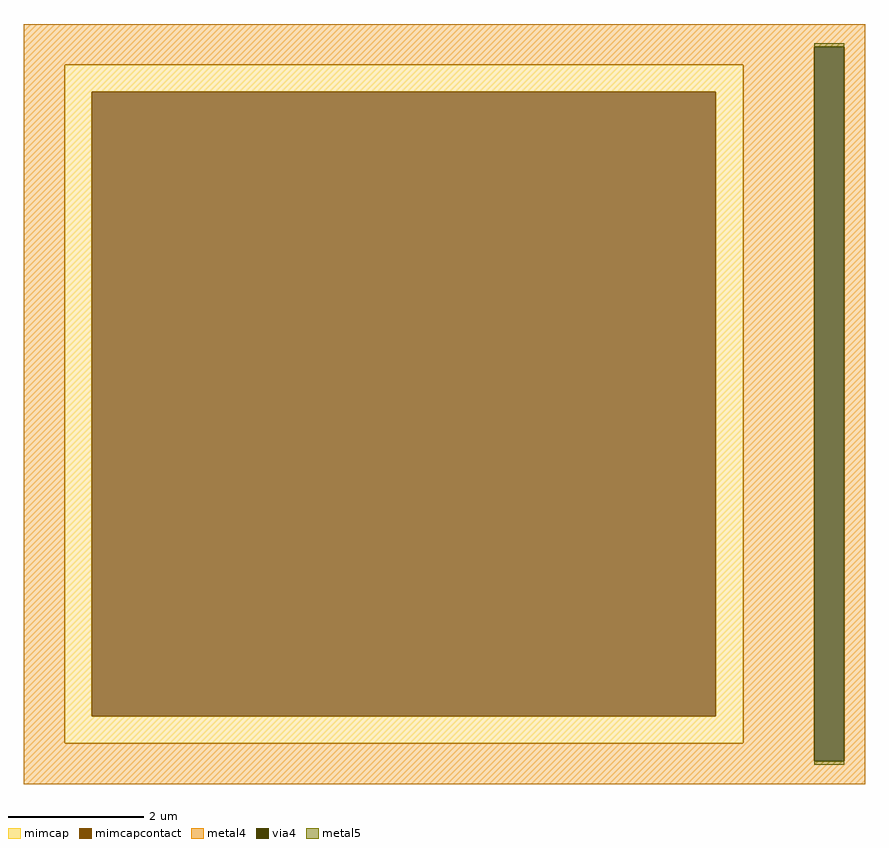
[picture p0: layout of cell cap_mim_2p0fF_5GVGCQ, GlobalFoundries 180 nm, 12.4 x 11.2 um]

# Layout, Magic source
magic
tech gf180mcuD
magscale 1 10
<< mimcap >>
rect -1120 920 880 1000
rect -1120 -920 -1040 920
rect 800 -920 880 920
rect -1120 -1000 880 -920
<< mimcapcontact >>
rect -1040 -920 800 920
<< metal4 >>
rect -1240 1053 1240 1120
rect -1240 1000 1090 1053
rect -1240 -1000 -1120 1000
rect 880 -1000 1090 1000
rect -1240 -1053 1090 -1000
rect 1178 -1053 1240 1053
rect -1240 -1120 1240 -1053
<< via4 >>
rect 1090 -1053 1178 1053
<< metal5 >>
rect 1090 1053 1178 1063
rect 1090 -1063 1178 -1053
<< properties >>
string FIXED_BBOX -1240 -1120 1000 1120
string gencell cap_mim_2p0fF
string library gf180mcu
string parameters w 10.00 l 10.00 val 3.3k carea 25.00 cperi 20.00 class capacitor nx 1 ny 1 dummy 0 square 0 lmin 5.00 wmin 5.00 lmax 100.0 wmax 100.0 dc 0 bconnect 1 tconnect 1
<< end >>
